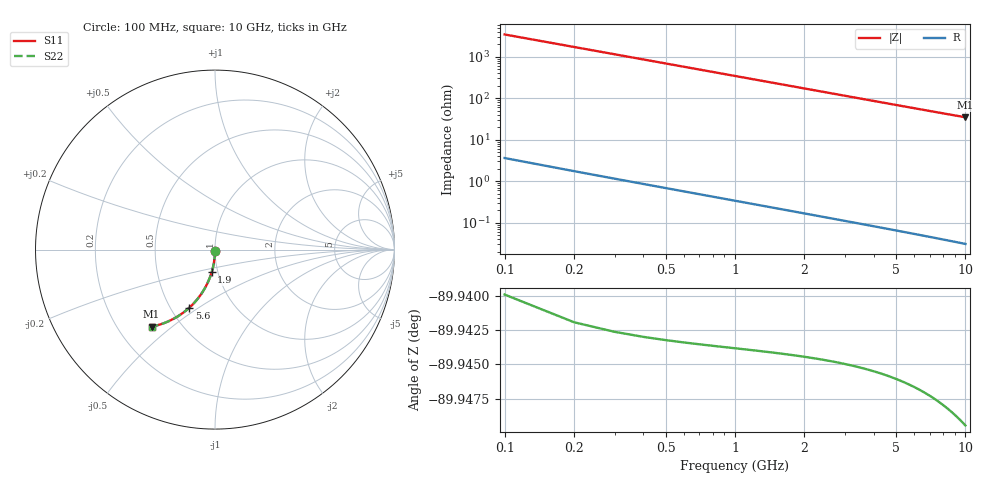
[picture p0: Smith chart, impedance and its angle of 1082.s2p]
# Hz S RI R 50.00
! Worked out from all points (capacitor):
!   100 points, 100 MHz to 10 GHz, reference 50 ohm
!   read as one part in shunt: C = 461 fF near 100 MHz
!   lowest |Z| = 34.9 ohm at 10 GHz (marker M1)
!   S11 on the Smith chart (normalised r, x): 100 MHz: 1.00, -0.01; 1.9 GHz: 0.93, -0.24; 5.6 GHz: 0.62, -0.46; 10 GHz: 0.34, -0.43
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1e8  7.38e-05 -0.00676  0.9998 -0.00772  0.9998 -0.00772  7.38e-05 -0.00676
2e8  -8.89e-05 -0.0135  0.9996 -0.0154  0.9996 -0.0154  -8.89e-05 -0.0135
3e8  -0.000356 -0.0203  0.9994 -0.0231  0.9994 -0.0231  -0.000356 -0.0203
4e8  -0.000727 -0.027  0.999 -0.0308  0.999 -0.0308  -0.000727 -0.027
5e8  -0.0012 -0.0338  0.9985 -0.0385  0.9985 -0.0385  -0.0012 -0.0338
6e8  -0.00178 -0.0405  0.9979 -0.0462  0.9979 -0.0462  -0.00178 -0.0405
7e8  -0.00246 -0.0472  0.9972 -0.0539  0.9972 -0.0539  -0.00246 -0.0472
8e8  -0.00325 -0.0539  0.9964 -0.0616  0.9964 -0.0616  -0.00325 -0.0539
9e8  -0.00414 -0.0606  0.9955 -0.0692  0.9955 -0.0692  -0.00414 -0.0606
1.1e9  -0.00622 -0.0739  0.9934 -0.0844  0.9934 -0.0844  -0.00622 -0.0739
1.4e9  -0.0101 -0.0937  0.9895 -0.1071  0.9895 -0.1071  -0.0101 -0.0937
1.8e9  -0.0167 -0.1197  0.9829 -0.1369  0.9829 -0.1369  -0.0167 -0.1197
1.9e9  -0.0185 -0.1261  0.981 -0.1443  0.981 -0.1443  -0.0185 -0.1261
2.2e9  -0.0248 -0.1451  0.9747 -0.1662  0.9747 -0.1662  -0.0248 -0.1451
2.6e9  -0.0343 -0.1698  0.9651 -0.1948  0.9651 -0.1948  -0.0343 -0.1698
3.4e9  -0.0575 -0.2167  0.9417 -0.2494  0.9417 -0.2494  -0.0575 -0.2167
4.2e9  -0.0855 -0.2597  0.9134 -0.3001  0.9134 -0.3001  -0.0855 -0.2597
5.1e9  -0.1216 -0.3026  0.8769 -0.3518  0.8769 -0.3518  -0.1216 -0.3026
5.6e9  -0.1433 -0.3237  0.8549 -0.3779  0.8549 -0.3779  -0.1433 -0.3237
6.7e9  -0.1941 -0.3635  0.8034 -0.4285  0.8034 -0.4285  -0.1941 -0.3635
8.4e9  -0.2766 -0.4067  0.7197 -0.4887  0.7197 -0.4887  -0.2766 -0.4067
1e10  -0.3536 -0.4292  0.6412 -0.5275  0.6412 -0.5275  -0.3536 -0.4292
